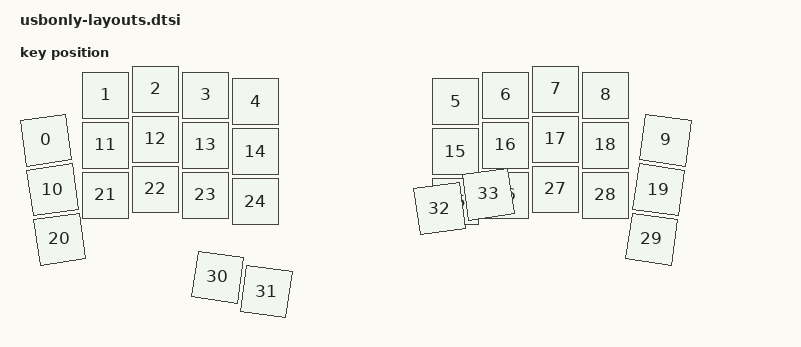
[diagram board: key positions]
#include <physical_layouts.dtsi>

/ {
    usbonly_layout: physical_layout_0 {
        compatible = "zmk,physical-layout";
        display-name = "UsbOnly Layout";

        keys  //                     w   h    x    y     rot    rx    ry
            = <&key_physical_attrs 100 100    0   38  (-800)   500   260>
            , <&key_physical_attrs 100 100  100   12       0     0     0>
            , <&key_physical_attrs 100 100  200    0       0     0     0>
            , <&key_physical_attrs 100 100  300   12       0     0     0>
            , <&key_physical_attrs 100 100  400   25       0     0     0>
            , <&key_physical_attrs 100 100  800   25       0     0     0>
            , <&key_physical_attrs 100 100  900   12       0     0     0>
            , <&key_physical_attrs 100 100 1000    0       0     0     0>
            , <&key_physical_attrs 100 100 1100   12       0     0     0>
            , <&key_physical_attrs 100 100 1200   38     800   800   260>
            , <&key_physical_attrs 100 100    0  138  (-800)   500   260>
            , <&key_physical_attrs 100 100  100  112       0     0     0>
            , <&key_physical_attrs 100 100  200  100       0     0     0>
            , <&key_physical_attrs 100 100  300  112       0     0     0>
            , <&key_physical_attrs 100 100  400  125       0     0     0>
            , <&key_physical_attrs 100 100  800  125       0     0     0>
            , <&key_physical_attrs 100 100  900  112       0     0     0>
            , <&key_physical_attrs 100 100 1000  100       0     0     0>
            , <&key_physical_attrs 100 100 1100  112       0     0     0>
            , <&key_physical_attrs 100 100 1200  138     800   800   260>
            , <&key_physical_attrs 100 100    0  238  (-800)   500   260>
            , <&key_physical_attrs 100 100  100  212       0     0     0>
            , <&key_physical_attrs 100 100  200  200       0     0     0>
            , <&key_physical_attrs 100 100  300  212       0     0     0>
            , <&key_physical_attrs 100 100  400  225       0     0     0>
            , <&key_physical_attrs 100 100  800  225       0     0     0>
            , <&key_physical_attrs 100 100  900  212       0     0     0>
            , <&key_physical_attrs 100 100 1000  200       0     0     0>
            , <&key_physical_attrs 100 100 1100  212       0     0     0>
            , <&key_physical_attrs 100 100 1200  238     800   800   260>
            , <&key_physical_attrs 100 100  380  320     800     0     0>
            , <&key_physical_attrs 100 100  480  335     800     0     0>
            , <&key_physical_attrs 100 100  720  350  (-800)     0     0>
            , <&key_physical_attrs 100 100  820  335  (-800)     0     0>
            ;
    };
};

/ {
    layouts_usbonly_position_map: layouts_usbonly_position_map {
        compatible = "zmk,physical-layout-position-map";

        complete;
    };
};

&layouts_usbonly_position_map {
    usbonly_posmap: five {
        physical-layout = <&usbonly_layout>;
        positions
            = <36  0  1  2  3  4  5  6  7  8  9 37>
            , <38 10 11 12 13 14 15 16 17 18 19 39>
            , <40 20 21 22 23 24 25 26 27 28 29 41>
            , <         30 31 32 33 34 35         >;
    };
};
